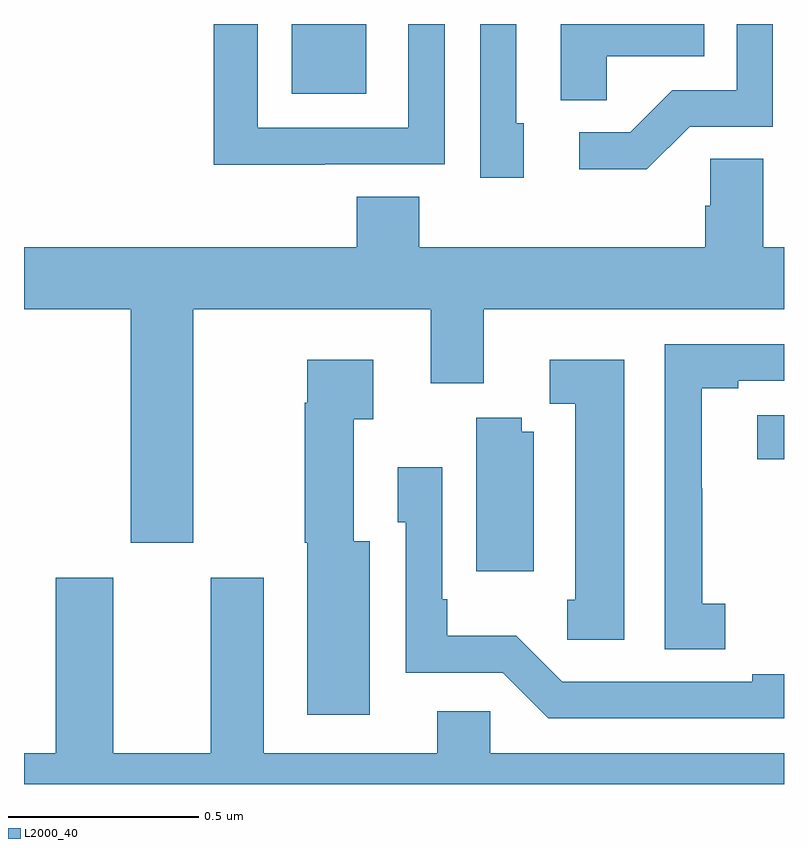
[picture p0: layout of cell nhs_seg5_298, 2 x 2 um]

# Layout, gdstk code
import gdstk
lib = gdstk.Library(unit=1e-6, precision=1e-09)
def R(c, l, rs):  # rectangles x0, y0, x1, y1
    for r in rs: c.add(gdstk.rectangle(r[:2], r[2:], *l))
def P(c, l, *ps):  # polygons
    for p in ps: c.add(gdstk.Polygon(p, *l))
L2000_40 = (2000, 40)

nhs_seg5_298 = lib.new_cell('nhs_seg5_298')
R(nhs_seg5_298, L2000_40, [(115.929,901.654,116,901.769), (114.704,902.615,114.901,902.799)])
P(nhs_seg5_298, L2000_40, [(114.791,902.43),(115.107,902.43),(115.107,902.799),(115.011,902.799),(115.011,902.526),(114.615,902.526),(114.615,902.799),(114.499,902.799),(114.499,902.429),(114.791,902.429)],
  [(115.752,902.529),(115.971,902.529),(115.971,902.799),(115.875,902.799),(115.875,902.625),(115.706,902.625),(115.595,902.514),(115.461,902.514),(115.461,902.417),(115.639,902.417)],
  [(115.315,902.538),(115.296,902.538),(115.296,902.799),(115.2,902.799),(115.2,902.394),(115.315,902.394)],
  [(115.533,902.714),(115.79,902.714),(115.79,902.799),(115.412,902.799),(115.412,902.599),(115.533,902.599)],
  [(114.445,902.048),(115.07,902.048),(115.07,901.854),(115.21,901.854),(115.21,902.048),(116,902.048),(116,902.212),(115.945,902.212),(115.945,902.444),(115.806,902.444),(115.806,902.321),(115.793,902.321),(115.793,902.212),(115.04,902.212),(115.04,902.345),(114.875,902.345),(114.875,902.212),(114,902.212),(114,902.048),(114.281,902.048),(114.281,901.434),(114.445,901.434)],
  [(115.846,901.273),(115.785,901.273),(115.785,901.577),(115.783,901.577),(115.783,901.84),(115.879,901.84),(115.879,901.86),(116,901.86),(116,901.956),(115.686,901.956),(115.686,901.153),(115.846,901.153)],
  [(115.579,901.915),(115.383,901.915),(115.383,901.8),(115.451,901.8),(115.451,901.284),(115.429,901.284),(115.429,901.179),(115.579,901.179)],
  [(114.91,901.438),(114.868,901.438),(114.868,901.759),(114.919,901.759),(114.919,901.915),(114.746,901.915),(114.746,901.802),(114.739,901.802),(114.739,901.434),(114.746,901.434),(114.746,900.981),(114.91,900.981)],
  [(115.342,901.726),(115.31,901.726),(115.31,901.763),(115.19,901.763),(115.19,901.359),(115.342,901.359)],
  [(116,901.088),(115.916,901.088),(115.916,901.068),(115.416,901.068),(115.295,901.189),(115.114,901.189),(115.114,901.285),(115.101,901.285),(115.101,901.633),(114.984,901.633),(114.984,901.488),(115.005,901.488),(115.005,901.092),(115.26,901.092),(115.38,900.972),(116,900.972)],
  [(116,900.88),(115.227,900.88),(115.227,900.99),(115.088,900.99),(115.088,900.88),(114.631,900.88),(114.631,901.342),(114.491,901.342),(114.491,900.88),(114.235,900.88),(114.235,901.342),(114.083,901.342),(114.083,900.88),(114,900.88),(114,900.799),(116,900.799)])

lib.write_gds('nhs_seg5_298.gds')
